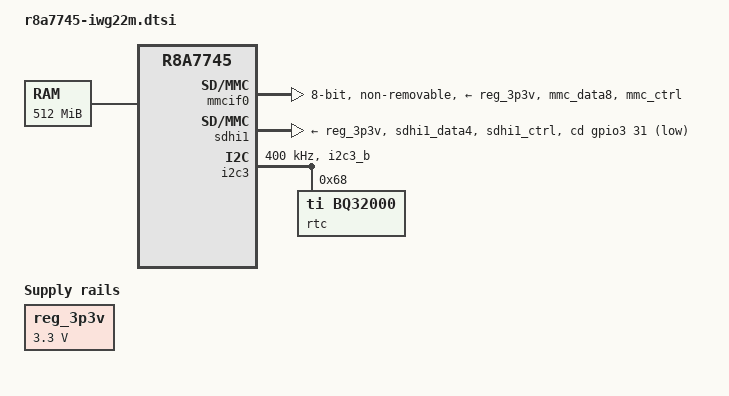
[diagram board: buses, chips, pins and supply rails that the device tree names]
/*
 * Device Tree Source for the iWave-RZG1E-G22M SODIMM SOM
 *
 * Copyright (C) 2017 Renesas Electronics Corp.
 *
 * This file is licensed under the terms of the GNU General Public License
 * version 2.  This program is licensed "as is" without any warranty of any
 * kind, whether express or implied.
 */

#include "r8a7745.dtsi"
#include <dt-bindings/gpio/gpio.h>

/ {
	compatible = "iwave,g22m", "renesas,r8a7745";

	memory@40000000 {
		device_type = "memory";
		reg = <0 0x40000000 0 0x20000000>;
	};

	reg_3p3v: 3p3v {
		compatible = "regulator-fixed";
		regulator-name = "3P3V";
		regulator-min-microvolt = <3300000>;
		regulator-max-microvolt = <3300000>;
		regulator-always-on;
		regulator-boot-on;
	};
};

&extal_clk {
	clock-frequency = <20000000>;
};

&pfc {
	mmcif0_pins: mmc {
		groups = "mmc_data8", "mmc_ctrl";
		function = "mmc";
	};

	sdhi1_pins: sd1 {
		groups = "sdhi1_data4", "sdhi1_ctrl";
		function = "sdhi1";
		power-source = <3300>;
	};

	i2c3_pins: i2c3 {
		groups = "i2c3_b";
		function = "i2c3";
	};
};

&mmcif0 {
	pinctrl-0 = <&mmcif0_pins>;
	pinctrl-names = "default";

	vmmc-supply = <&reg_3p3v>;
	bus-width = <8>;
	non-removable;
	status = "okay";
};

&sdhi1 {
	pinctrl-0 = <&sdhi1_pins>;
	pinctrl-names = "default";

	vmmc-supply = <&reg_3p3v>;
	vqmmc-supply = <&reg_3p3v>;
	cd-gpios = <&gpio3 31 GPIO_ACTIVE_LOW>;
	status = "okay";
};

&i2c3 {
	pinctrl-0 = <&i2c3_pins>;
	pinctrl-names = "default";

	status = "okay";
	clock-frequency = <400000>;

	rtc@68 {
		compatible = "ti,bq32000";
		reg = <0x68>;
	};
};
